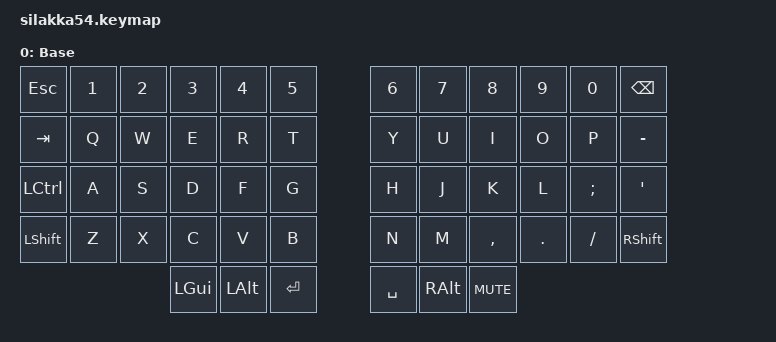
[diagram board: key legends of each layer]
#include <behaviors.dtsi>
#include <dt-bindings/zmk/bt.h>
#include <dt-bindings/zmk/keys.h>
#include <dt-bindings/zmk/outputs.h>

/ {
    keymap {
        compatible = "zmk,keymap";

        default_layer {
            display-name = "Base";
            bindings = <
&kp ESC   &kp N1 &kp N2 &kp N3   &kp N4       &kp N5                   &kp N6    &kp N7        &kp N8    &kp N9   &kp N0   &kp BSPC
&kp TAB   &kp Q  &kp W  &kp E    &kp R        &kp T                    &kp Y     &kp U         &kp I     &kp O    &kp P    &kp MINUS
&kp LCTRL &kp A  &kp S  &kp D    &kp F        &kp G                    &kp H     &kp J         &kp K     &kp L    &kp SEMI &kp SQT
&kp LSHFT &kp Z  &kp X  &kp C    &kp V        &kp B                    &kp N     &kp M         &kp COMMA &kp DOT  &kp FSLH &kp RSHFT
                        &kp LGUI &kp LEFT_ALT &kp RET                  &kp SPACE &kp RIGHT_ALT &kp C_MUTE

            >;
        };
    };
};
